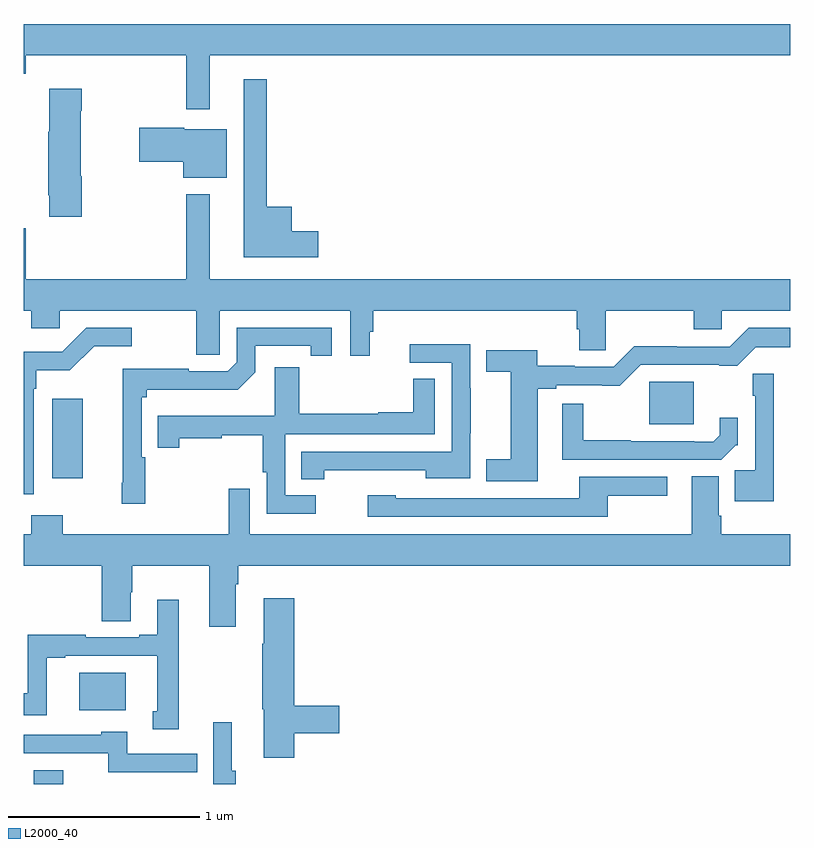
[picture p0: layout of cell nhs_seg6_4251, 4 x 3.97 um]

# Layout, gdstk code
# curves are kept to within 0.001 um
import gdstk
lib = gdstk.Library(unit=1e-6, precision=1e-09)
def R(c, l, rs):  # rectangles x0, y0, x1, y1
    for r in rs: c.add(gdstk.rectangle(r[:2], r[2:], *l))
def P(c, l, *ps):  # polygons
    for p in ps: c.add(gdstk.Polygon(p, *l))
L2000_40 = (2000, 40)

nhs_seg6_4251 = lib.new_cell('nhs_seg6_4251')
R(nhs_seg6_4251, L2000_40, [(361.052,975.5,361.204,975.571), (361.289,975.884,361.531,976.081), (361.148,977.097,361.306,977.512), (364.265,977.378,364.498,977.599)])
P(nhs_seg6_4251, L2000_40, [(361.969,979.304),(365,979.304),(365,979.468),(361,979.468),(361,979.208),(361.01,979.208),(361.01,979.304),(361.848,979.304),(361.848,979.023),(361.969,979.023)],
  [(362.536,978.386),(362.398,978.386),(362.398,978.514),(362.269,978.514),(362.269,979.18),(362.147,979.18),(362.147,978.251),(362.536,978.251)],
  [(361.301,978.674),(361.296,978.674),(361.296,979.016),(361.301,979.016),(361.301,979.129),(361.133,979.129),(361.133,978.905),(361.126,978.905),(361.126,978.574),(361.133,978.574),(361.133,978.462),(361.301,978.462)],
  [(362.059,978.919),(361.836,978.919),(361.836,978.927),(361.602,978.927),(361.602,978.749),(361.832,978.749),(361.832,978.665),(362.059,978.665)],
  [(362.806,977.862),(362.824,977.862),(362.824,977.972),(363.887,977.972),(363.887,977.874),(363.899,977.874),(363.899,977.764),(364.038,977.764),(364.038,977.972),(364.498,977.972),(364.498,977.874),(364.644,977.874),(364.644,977.972),(365,977.972),(365,978.136),(361.969,978.136),(361.969,978.58),(361.848,978.58),(361.848,978.136),(361.01,978.136),(361.01,978.401),(361,978.401),(361,977.972),(361.037,977.972),(361.037,977.879),(361.188,977.879),(361.188,977.972),(361.9,977.972),(361.9,977.74),(362.022,977.74),(362.022,977.972),(362.705,977.972),(362.705,977.736),(362.806,977.736)],
  [(361.05,977.564),(361.063,977.564),(361.063,977.66),(361.24,977.66),(361.366,977.786),(361.564,977.786),(361.564,977.883),(361.325,977.883),(361.199,977.757),(361,977.757),(361,977.013),(361.05,977.013)],
  [(361.634,977.206),(361.614,977.206),(361.614,977.52),(361.642,977.52),(361.642,977.558),(362.117,977.558),(362.208,977.649),(362.208,977.787),(362.498,977.787),(362.498,977.736),(362.608,977.736),(362.608,977.883),(362.112,977.883),(362.112,977.703),(362.064,977.655),(361.861,977.655),(361.861,977.668),(361.517,977.668),(361.517,977.074),(361.511,977.074),(361.511,976.962),(361.634,976.962)],
  [(363.682,977.563),(363.778,977.563),(363.778,977.583),(364.019,977.583),(364.019,977.578),(364.111,977.578),(364.221,977.688),(364.631,977.688),(364.631,977.683),(364.723,977.683),(364.821,977.781),(365,977.78),(365,977.881),(364.783,977.881),(364.686,977.784),(364.409,977.784),(364.409,977.786),(364.187,977.786),(364.08,977.679),(363.876,977.679),(363.876,977.684),(363.679,977.684),(363.679,977.764),(363.415,977.764),(363.415,977.653),(363.542,977.653),(363.542,977.196),(363.415,977.196),(363.415,977.081),(363.682,977.081)],
  [(362.568,977.138),(363.098,977.138),(363.098,977.096),(363.33,977.096),(363.33,977.332),(363.332,977.332),(363.332,977.567),(363.33,977.567),(363.33,977.797),(363.015,977.797),(363.015,977.7),(363.234,977.7),(363.234,977.235),(362.449,977.235),(362.449,977.092),(362.568,977.092)],
  [(362.524,977.007),(362.364,977.007),(362.364,977.325),(363.144,977.325),(363.144,977.615),(363.032,977.615),(363.032,977.441),(362.851,977.441),(362.851,977.434),(362.437,977.434),(362.437,977.677),(362.309,977.677),(362.309,977.422),(361.699,977.422),(361.699,977.256),(361.81,977.256),(361.81,977.305),(362.034,977.305),(362.034,977.32),(362.248,977.32),(362.248,977.128),(362.268,977.128),(362.268,976.911),(362.524,976.911)],
  [(364.914,977.641),(364.806,977.641),(364.806,977.528),(364.818,977.528),(364.818,977.137),(364.712,977.137),(364.712,976.976),(364.914,976.976)],
  [(364.717,977.268),(364.728,977.268),(364.728,977.413),(364.634,977.413),(364.634,977.322),(364.598,977.286),(364.499,977.286),(364.499,977.289),(364.169,977.289),(364.169,977.294),(363.919,977.294),(363.919,977.485),(363.81,977.485),(363.81,977.193),(364.642,977.193)],
  [(362.107,976.544),(362.12,976.544),(362.12,976.64),(365,976.64),(365,976.804),(364.64,976.804),(364.64,976.9),(364.627,976.9),(364.627,977.108),(364.487,977.108),(364.487,976.804),(362.178,976.804),(362.178,977.041),(362.07,977.041),(362.07,976.804),(361.202,976.804),(361.202,976.903),(361.037,976.903),(361.037,976.804),(361,976.804),(361,976.64),(361.406,976.64),(361.406,976.351),(361.558,976.351),(361.558,976.502),(361.566,976.502),(361.566,976.64),(361.967,976.64),(361.967,976.32),(362.107,976.32)],
  [(364.047,977.006),(364.36,977.006),(364.36,977.103),(363.899,977.103),(363.899,976.992),(362.94,976.992),(362.94,977.008),(362.796,977.008),(362.796,976.896),(364.047,976.896)],
  [(362.411,975.766),(362.647,975.766),(362.647,975.908),(362.411,975.908),(362.411,976.471),(362.252,976.471),(362.252,976.232),(362.245,976.232),(362.245,975.891),(362.252,975.891),(362.252,975.636),(362.411,975.636)],
  [(361.807,976.462),(361.697,976.462),(361.697,976.279),(361.601,976.279),(361.601,976.266),(361.322,976.266),(361.322,976.279),(361.021,976.279),(361.021,975.974),(361,975.974),(361,975.858),(361.12,975.858),(361.12,976.158),(361.216,976.158),(361.216,976.17),(361.697,976.17),(361.697,975.879),(361.673,975.879),(361.673,975.785),(361.807,975.785)],
  [(362.105,975.568),(362.086,975.568),(362.086,975.823),(361.989,975.823),(361.989,975.5),(362.105,975.5)],
  [(361.904,975.657),(361.54,975.657),(361.54,975.772),(361.404,975.772),(361.404,975.756),(361,975.756),(361,975.66),(361.441,975.66),(361.441,975.561),(361.904,975.561)])

lib.write_gds('nhs_seg6_4251.gds')
